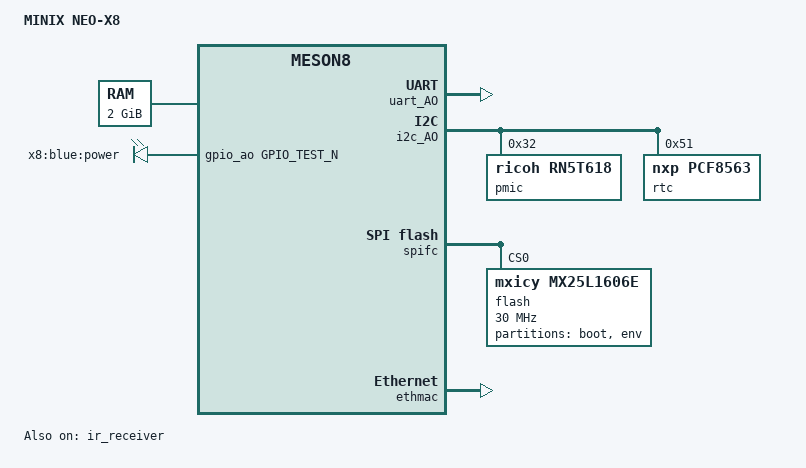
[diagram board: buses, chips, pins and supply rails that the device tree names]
// SPDX-License-Identifier: GPL-2.0 OR MIT
/*
 * Copyright 2014 Beniamino Galvani <b.galvani@gmail.com>
 */

/dts-v1/;
#include <dt-bindings/gpio/gpio.h>
#include "meson8.dtsi"

/ {
	model = "MINIX NEO-X8";
	compatible = "minix,neo-x8", "amlogic,meson8";

	aliases {
		serial0 = &uart_AO;
	};

	chosen {
		stdout-path = "serial0:115200n8";
	};

	memory {
		device_type = "memory";
		reg = <0x40000000 0x80000000>;
	};

	gpio-leds {
		compatible = "gpio-leds";

		blue {
			label = "x8:blue:power";
			gpios = <&gpio_ao GPIO_TEST_N GPIO_ACTIVE_HIGH>;
		};
	};
};

&uart_AO {
	status = "okay";
	pinctrl-0 = <&uart_ao_a_pins>;
	pinctrl-names = "default";
};

&i2c_AO {
	status = "okay";
	pinctrl-0 = <&i2c_ao_pins>;
	pinctrl-names = "default";

	pmic@32 {
		compatible = "ricoh,rn5t618";
		reg = <0x32>;
		system-power-controller;

		regulators {
		};
	};

	rtc@51 {
		compatible = "nxp,pcf8563";
		reg = <0x51>;
	};
};

&spifc {
	status = "okay";
	pinctrl-0 = <&spi_nor_pins>;
	pinctrl-names = "default";

	flash@0 {
		compatible = "mxicy,mx25l1606e";
		#address-cells = <1>;
		#size-cells = <1>;
		reg = <0>;
		spi-max-frequency = <30000000>;

		partition@0 {
			label = "boot";
			reg = <0x0 0x100000>;
		};

		partition@100000 {
			label = "env";
			reg = <0x100000 0x10000>;
		};
	};
};

&ir_receiver {
	status = "okay";
	pinctrl-0 = <&ir_recv_pins>;
	pinctrl-names = "default";
};

&ethmac {
	status = "okay";
	pinctrl-0 = <&eth_pins>;
	pnictrl-names = "default";
};
